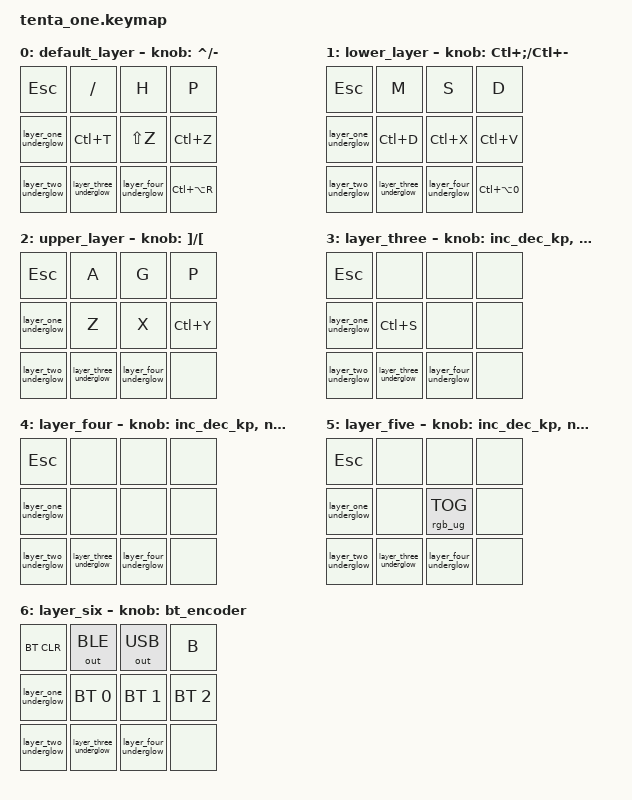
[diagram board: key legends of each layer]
#include <behaviors.dtsi>
#include <dt-bindings/zmk/keys.h>
#include <dt-bindings/zmk/rgb.h>
#include <dt-bindings/zmk/bt.h>
#include <dt-bindings/zmk/outputs.h>

/*
Ctrl+Z Undo
Ctrl+Y Redo
Ctrl+X Cut
Ctrl+V Paste
Ctrl+T Transform

Ctrl+D Deselect
Shift+F7 Invert selected area 

Shift+Z Flip Horizontal
Ctrl+Alt+0 100%
Ctrl+Alt+R Reset Rotation (Custom)

Alt+] Layer Above
Alt+[ Layer Below

- Rotate Left
^ Rotate Right

Ctrl+; Zoom in
Ctrl+- Zoom out

Options

[ Select Smaller  
] Select Larger
X Switch main and sub colour

Tools
H Hand
R Rotate
P Pen,Pencil
E Eraser
/ Zoom
*/

#define LAYER_COLOR_0 RGB_COLOR_HSB(270, 100, 25) // Ina Purple
#define LAYER_COLOR_1 RGB_COLOR_HSB(315, 100, 25) // Pink
#define LAYER_COLOR_2 RGB_COLOR_HSB(  0, 100, 25) // Red 
#define LAYER_COLOR_3 RGB_COLOR_HSB( 30, 100, 25) // Orange
#define LAYER_COLOR_4 RGB_COLOR_HSB(120, 100, 25) // Green
#define LAYER_COLOR_5 RGB_COLOR_HSB(190, 100, 25) // Sky Blue
#define LAYER_COLOR_6 RGB_COLOR_HSB(220, 100, 25) // Blue

/ {
    macros {
        layer_one_underglow: layer_one_underglow {
            compatible = "zmk,behavior-macro";
            wait-ms = <0>;
            tap-ms = <0>;
            #binding-cells = <0>;
            bindings
                = <&macro_press &mo 1>
                , <&macro_tap &rgb_ug LAYER_COLOR_1>
                , <&macro_pause_for_release>
                , <&macro_release &mo 1>
                , <&macro_tap &rgb_ug LAYER_COLOR_0>;
        };

        layer_two_underglow: layer_two_underglow {
            compatible = "zmk,behavior-macro";
            wait-ms = <0>;
            tap-ms = <0>;
            #binding-cells = <0>;
            bindings
                = <&macro_press &mo 2>
                , <&macro_tap &rgb_ug LAYER_COLOR_2>
                , <&macro_pause_for_release>
                , <&macro_release &mo 2>
                , <&macro_tap &rgb_ug LAYER_COLOR_0>;
        };

        layer_three_underglow: layer_three_underglow {
            compatible = "zmk,behavior-macro";
            wait-ms = <0>;
            tap-ms = <0>;
            #binding-cells = <0>;
            bindings
                = <&macro_press &mo 3>
                , <&macro_tap &rgb_ug LAYER_COLOR_3>
                , <&macro_pause_for_release>
                , <&macro_release &mo 3>
                , <&macro_tap &rgb_ug LAYER_COLOR_0>;
        };

        layer_four_underglow: layer_four_underglow {
            compatible = "zmk,behavior-macro";
            wait-ms = <0>;
            tap-ms = <0>;
            #binding-cells = <0>;
            bindings
                = <&macro_press &mo 4>
                , <&macro_tap &rgb_ug LAYER_COLOR_4>
                , <&macro_pause_for_release>
                , <&macro_release &mo 4>
                , <&macro_tap &rgb_ug LAYER_COLOR_0>;
        };

        layer_five_underglow: layer_five_underglow {
            compatible = "zmk,behavior-macro";
            wait-ms = <0>;
            tap-ms = <0>;
            #binding-cells = <0>;
            bindings
                = <&macro_press &mo 5>
                , <&macro_tap &rgb_ug LAYER_COLOR_5>
                , <&macro_pause_for_release>
                , <&macro_release &mo 5>
                , <&macro_tap &rgb_ug LAYER_COLOR_0>;
        };

        layer_six_underglow: layer_six_underglow {
            compatible = "zmk,behavior-macro";
            wait-ms = <0>;
            tap-ms = <0>;
            #binding-cells = <0>;
            bindings
                = <&macro_press &mo 6>
                , <&macro_tap &rgb_ug LAYER_COLOR_6>
                , <&macro_pause_for_release>
                , <&macro_release &mo 6>
                , <&macro_tap &rgb_ug LAYER_COLOR_0>;
        };
    };
};

/ {
    combos {
        compatible = "zmk,combos";
        
        combo_layer_five_underglow {
            timeout-ms = <50>;
            key-positions = <8 9>;
            bindings = <&layer_five_underglow>;
        };
        
        combo_layer_six_underglow {
            timeout-ms = <50>;
            key-positions = <8 10>;
            bindings = <&layer_six_underglow>;
        };
        
        combo_zmk_studio_unlock {
            timeout-ms = <50>;
            key-positions = <0 1 2 3>;
            bindings = <&studio_unlock>;
        };
    };
};

/ {
    behaviors {
        bt_encoder: bt_encoder {
            compatible = "zmk,behavior-sensor-rotate";
            #sensor-binding-cells = <0>;
            bindings = <&bt BT_NXT>, <&bt BT_PRV>;
        };
    };

    keymap {
        compatible = "zmk,keymap";

        default_layer { // Layer 0
            // -------------------------------------------------
            // |    ESC    |     /     |     H     |     P    |
            // |  LAYER 1  |  LCTRL+T  | LSHIFT+Z  | LCTRL+Z  |
            // |  LAYER 2  |  LAYER 3  |  LAYER 4  | LCTRL+LALT+R |
            bindings = <
                &kp ESC                    &kp SLASH                     &kp H      &kp P
                &layer_one_underglow       &kp LC(T)                 &kp LS(Z)  &kp LC(Z)
                &layer_two_underglow       &layer_three_underglow    &layer_four_underglow &kp LC(LA(R))
            >;

            sensor-bindings = <&inc_dec_kp CARET MINUS>;
        };

        lower_layer { // Layer 1
            // -------------------------------------------------
            // |    ESC    |     M     |     S     |     D    |
            // |  LAYER 1  |  LCTRL+D  |  LCTRL+X  | LCTRL+V  |
            // |  LAYER 2  |  LAYER 3  |  LAYER 4  |
            bindings = <
                &kp ESC     &kp M        &kp S      &kp D
                &layer_one_underglow       &kp LC(D)    &kp LC(X)      &kp LC(V)
                &layer_two_underglow       &layer_three_underglow    &layer_four_underglow &kp LC(LA(NUMBER_0))
            >;

            sensor-bindings = <&inc_dec_kp LC(SEMI) LC(MINUS)>;
        };
        
        upper_layer { // Layer 2
            // -------------------------------------------------
            // |    ESC    |     A     |     G     |     P    |
            // |  LAYER 1  |     Z     |     X     | LCTRL+Y  |
            // |  LAYER 2  |  LAYER 3  |  LAYER 4  |
            bindings = <
                &kp ESC     &kp A        &kp G      &kp P
                &layer_one_underglow       &kp Z        &kp X      &kp LC(Y)
                &layer_two_underglow       &layer_three_underglow    &layer_four_underglow &none
            >;

            sensor-bindings = <&inc_dec_kp RBKT LBKT>;
        };

        layer_three { // Layer 3
            // -------------------------------------------------
            // |    ESC    |   NONE    |   NONE    |   NONE    |
            // |  LAYER 1  |  LCTRL+S  |   NONE    |   NONE    |
            // |  LAYER 2  |  LAYER 3  |  LAYER 4  |
            bindings = <
                &kp ESC     &none        &none      &none
                &layer_one_underglow       &kp LC(S)        &none      &none
                &layer_two_underglow       &layer_three_underglow    &layer_four_underglow &none
            >;

            sensor-bindings = <&inc_dec_kp &none &none>;
        };

        layer_four { // Layer 4
            // -------------------------------------------------
            // |    ESC    |   NONE    |   NONE    |   NONE    |
            // |  LAYER 1  |   NONE    |   NONE    |   NONE    |
            // |  LAYER 2  |  LAYER 3  |  LAYER 4  |
            bindings = <
                &kp ESC     &none        &none      &none
                &layer_one_underglow       &none        &none      &none
                &layer_two_underglow       &layer_three_underglow    &layer_four_underglow &none
            >;

            sensor-bindings = <&inc_dec_kp &none &none>;
        };

        layer_five { // Layer 5
            // -------------------------------------------------
            // |    ESC    |   NONE    |   NONE    |   NONE    |
            // |  LAYER 1  |   NONE    |  RBG_TOG  |   NONE    |
            // |  LAYER 2  |  LAYER 3  |  LAYER 4  |
            bindings = <
                &kp ESC     &none        &none      &none
                &layer_one_underglow       &none        &rgb_ug RGB_TOG      &none
                &layer_two_underglow       &layer_three_underglow    &layer_four_underglow &none
            >;

        // Not actually useful because it gets overwritten by RGB_COLOR_HSB
        sensor-bindings = <&inc_dec_kp &none &none>;
        };

        layer_six { // Layer 6
            // -------------------------------------------------
            // | BT CLEAR  |  OUT_BLE  |  OUT_USB  |     B     |
            // |  LAYER 1  | BT PROF 1 | BT PROF 2 | BT PROF 3 |
            // |  LAYER 2  |  LAYER 3  |  LAYER 4  |
            bindings = <    
                &bt BT_CLR     &out OUT_BLE       &out OUT_USB     &kp B
                &layer_one_underglow       &bt BT_SEL 0        &bt BT_SEL 1      &bt BT_SEL 2
                &layer_two_underglow       &layer_three_underglow    &layer_four_underglow &none
            >;

            sensor-bindings = <&bt_encoder>;
        };
    };
 };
